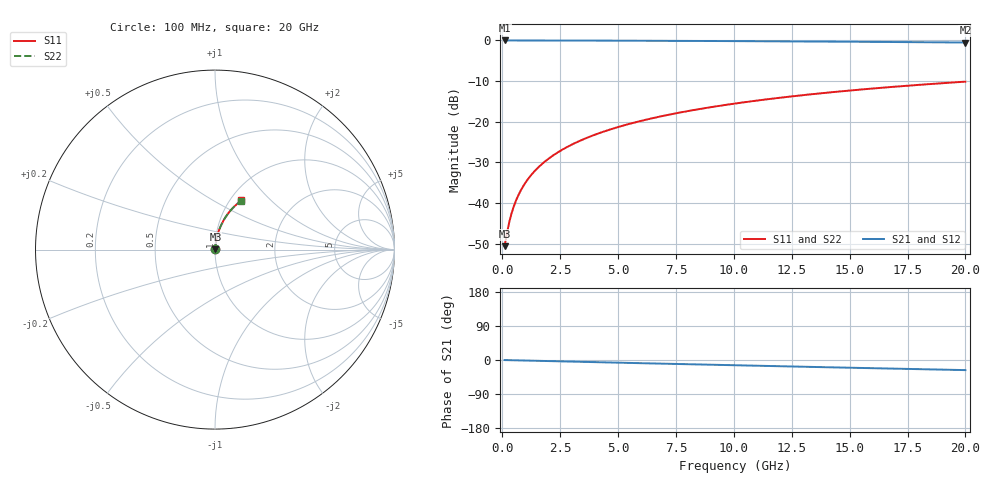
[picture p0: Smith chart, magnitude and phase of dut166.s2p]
! Touchstone file exported from HFSS 2026.1.0
!  File:  C:/ffzhzh/LocalFiles/Ansys_Project_Files/temp_train_TMRDL_166_1782983370_42984.aedt
!  Generated:  05:10:41 PM Jul  2, 2026
!  Design:  TMRDL
!  Project:  temp_train_TMRDL_166_1782983370_42984
! Variables:
!  h_bsmrdl = 2um
!  h_ox = 20um
!  h_rdl = 5um
!  h_sub = 80um
!  h_tmrdl = 5.18um
!  h_tsv = 80um
!  h_via = 3um
!  l_bsmrdl = 300um
!  l_sub = 733.67um
!  l_tmrdl = 333.67um
!  m_sub = 200um
!  pitch = 40.78um
!  r_tsv = 6um
!  s_tmrdl = 10um
!  w_bsmrdl = 18um
!  w_sub = 500um
!  w_tmrdl = 10.04um
!  x_tsv_center1 = 338.69um
!  x_tsv_center2 = 656.69um
!  x_tsv_center3 = 1000.4um
!  x_tsv_center4 = 1318.4um
!  x_tsv_center5 = 1662.11um
!  x_tsv_center6 = 1980.11um
# GHz S MA R 50.000000
! Terminal data exported
! Port[1] = TM_RDL1_1_T1
! Port[2] = TM_RDL1_1_T2
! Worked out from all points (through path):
!   200 points, 100 MHz to 20 GHz, reference 50 ohm
!   highest |S21| = -0.02 dB at 100 MHz (marker M1); lowest = -0.5 dB at 20 GHz (marker M2)
!   group delay of S21, straight-line fit = 3.7 ps
!   lowest |S11| = -50.6 dB at 100 MHz (marker M3), VSWR 1.01, Z = 50.2 + j0.181 ohm
!   |S11| at or under -10 dB: start of sweep to end of sweep
!   |S22| runs from -50.6 to -10.2 dB; largest |S21 - S12| = 2e-15
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0.1  0.002949 37.6  0.9977 -0.1  0.9977 -0.1  0.002949 37.6
! Gamma 0 0 0 0
! Port Impedance 50 0 50 0
0.2  0.004264 56.2  0.9976 -0.3  0.9976 -0.3  0.00427 56.2
0.3  0.005817 65.6  0.9976 -0.4  0.9976 -0.4  0.005821 65.5
0.4  0.007463 70.8  0.9975 -0.6  0.9975 -0.6  0.007465 70.8
0.5  0.009153 74.1  0.9975 -0.7  0.9975 -0.7  0.009153 74.0
0.6  0.01087 76.3  0.9974 -0.9  0.9974 -0.9  0.01086 76.2
0.8  0.01432 78.9  0.9973 -1.1  0.9973 -1.1  0.01432 78.9
1.1  0.01953 80.9  0.9971 -1.6  0.9971 -1.6  0.01952 80.9
1.5  0.02647 82.0  0.9969 -2.1  0.9969 -2.1  0.02647 82.0
1.8  0.03167 82.3  0.9966 -2.6  0.9966 -2.6  0.03166 82.3
2.1  0.03685 82.4  0.9963 -3.0  0.9963 -3.0  0.03684 82.4
2.7  0.04715 82.2  0.9957 -3.8  0.9957 -3.8  0.04715 82.2
3.5  0.06078 81.6  0.9945 -5.0  0.9945 -5.0  0.06078 81.6
4.2  0.07259 80.9  0.9934 -5.9  0.9934 -5.9  0.07259 80.9
5  0.08597 80.0  0.9919 -7.1  0.9919 -7.1  0.08597 80.0
5.9  0.1009 79.0  0.9901 -8.3  0.9901 -8.3  0.1009 79.0
6.8  0.1156 77.9  0.988 -9.5  0.988 -9.5  0.1156 77.9
8.3  0.1397 76.0  0.9842 -11.6  0.9842 -11.6  0.1397 76.0
10.1  0.1681 73.8  0.9791 -14.0  0.9791 -14.0  0.1681 73.8
13.4  0.2183 69.7  0.9682 -18.3  0.9682 -18.3  0.2183 69.7
16.7  0.2659 65.6  0.9556 -22.6  0.9556 -22.6  0.2659 65.6
20  0.3108 61.7  0.9414 -26.7  0.9414 -26.7  0.3108 61.6
